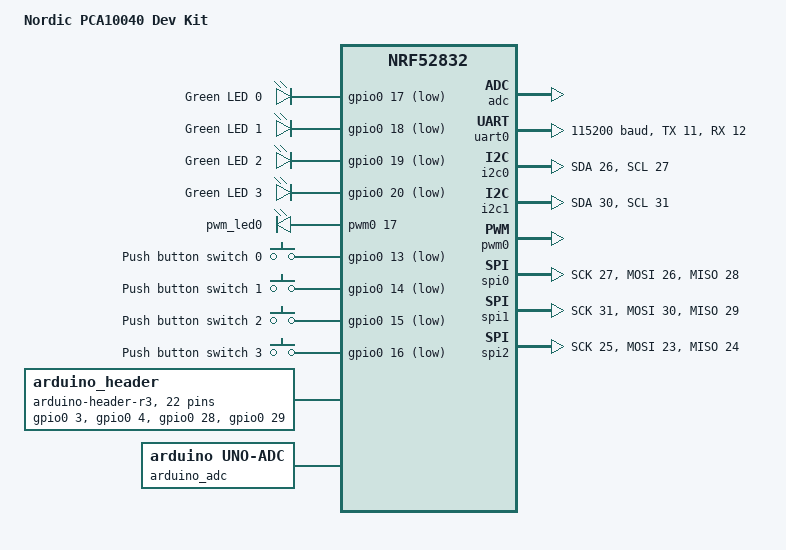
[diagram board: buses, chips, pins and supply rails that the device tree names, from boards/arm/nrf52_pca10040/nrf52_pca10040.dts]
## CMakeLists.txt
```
cmake_minimum_required(VERSION 3.13.1)
# Re-direct the directory where the 'boards' directory is found from
# $ZEPHYR_BASE to this directory.
set(BOARD_ROOT ${CMAKE_CURRENT_LIST_DIR})

set(BOARD nrf52_pca10040)

include($ENV{ZEPHYR_BASE}/cmake/app/boilerplate.cmake NO_POLICY_SCOPE)
project(ruuvi.gateway_nrf.zephyr)

target_sources(app PRIVATE src/main.c)
```

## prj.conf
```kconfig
#Debugging
CONFIG_USE_SEGGER_RTT=y
CONFIG_RTT_CONSOLE=y
CONFIG_UART_CONSOLE=n
CONFIG_STDOUT_CONSOLE=n

#BT
CONFIG_BT=y
CONFIG_BT_OBSERVER=y
CONFIG_BT_DEBUG_LOG=y

# UART
CONFIG_SERIAL=y
CONFIG_UART_INTERRUPT_DRIVEN=y
CONFIG_UART_0_NRF_UART=y

#Use full LibC
CONFIG_NEWLIB_LIBC=y
CONFIG_NEWLIB_LIBC_FLOAT_PRINTF=y
```

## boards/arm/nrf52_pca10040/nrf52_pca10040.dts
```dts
/*
 * Copyright (c) 2017 Shawn Nock <shawn@monadnock.ca>
 * Copyright (c) 2017 Linaro Limited
 *
 * SPDX-License-Identifier: Apache-2.0
 */

/dts-v1/;
#include <nordic/nrf52832_qfaa.dtsi>

/ {
	model = "Nordic PCA10040 Dev Kit";
	compatible = "nordic,pca10040-dk", "nordic,nrf52832-qfaa",
		     "nordic,nrf52832";

	chosen {
		zephyr,console = &uart0;
		zephyr,shell-uart = &uart0;
		zephyr,uart-mcumgr = &uart0;
		zephyr,bt-mon-uart = &uart0;
		zephyr,bt-c2h-uart = &uart0;
		zephyr,sram = &sram0;
		zephyr,flash = &flash0;
		zephyr,code-partition = &slot0_partition;
	};

	leds {
		compatible = "gpio-leds";
		led0: led_0 {
			gpios = <&gpio0 17 GPIO_ACTIVE_LOW>;
			label = "Green LED 0";
		};
		led1: led_1 {
			gpios = <&gpio0 18 GPIO_ACTIVE_LOW>;
			label = "Green LED 1";
		};
		led2: led_2 {
			gpios = <&gpio0 19 GPIO_ACTIVE_LOW>;
			label = "Green LED 2";
		};
		led3: led_3 {
			gpios = <&gpio0 20 GPIO_ACTIVE_LOW>;
			label = "Green LED 3";
		};
	};

	pwmleds {
		compatible = "pwm-leds";
		pwm_led0: pwm_led_0 {
			pwms = <&pwm0 17>;
		};
	};

	buttons {
		compatible = "gpio-keys";
		button0: button_0 {
			gpios = <&gpio0 13 (GPIO_PULL_UP | GPIO_ACTIVE_LOW)>;
			label = "Push button switch 0";
		};
		button1: button_1 {
			gpios = <&gpio0 14 (GPIO_PULL_UP | GPIO_ACTIVE_LOW)>;
			label = "Push button switch 1";
		};
		button2: button_2 {
			gpios = <&gpio0 15 (GPIO_PULL_UP | GPIO_ACTIVE_LOW)>;
			label = "Push button switch 2";
		};
		button3: button_3 {
			gpios = <&gpio0 16 (GPIO_PULL_UP | GPIO_ACTIVE_LOW)>;
			label = "Push button switch 3";
		};
	};

	arduino_header: connector {
		compatible = "arduino-header-r3";
		#gpio-cells = <2>;
		gpio-map-mask = <0xffffffff 0xffffffc0>;
		gpio-map-pass-thru = <0 0x3f>;
		gpio-map = <0 0 &gpio0 3 0>,	/* A0 */
			   <1 0 &gpio0 4 0>,	/* A1 */
			   <2 0 &gpio0 28 0>,	/* A2 */
			   <3 0 &gpio0 29 0>,	/* A3 */
			   <4 0 &gpio0 30 0>,	/* A4 */
			   <5 0 &gpio0 31 0>,	/* A5 */
			   <6 0 &gpio0 11 0>,	/* D0 */
			   <7 0 &gpio0 12 0>,	/* D1 */
			   <8 0 &gpio0 13 0>,	/* D2 */
			   <9 0 &gpio0 14 0>,	/* D3 */
			   <10 0 &gpio0 15 0>,	/* D4 */
			   <11 0 &gpio0 16 0>,	/* D5 */
			   <12 0 &gpio0 17 0>,	/* D6 */
			   <13 0 &gpio0 18 0>,	/* D7 */
			   <14 0 &gpio0 19 0>,	/* D8 */
			   <15 0 &gpio0 20 0>,	/* D9 */
			   <16 0 &gpio0 22 0>,	/* D10 */
			   <17 0 &gpio0 23 0>,	/* D11 */
			   <18 0 &gpio0 24 0>,	/* D12 */
			   <19 0 &gpio0 25 0>,	/* D13 */
			   <20 0 &gpio0 26 0>,	/* D14 */
			   <21 0 &gpio0 27 0>;	/* D15 */
	};

	arduino_adc: analog-connector {
		compatible = "arduino,uno-adc";
		#io-channel-cells = <1>;
		io-channel-map = <0 &adc 1>,	/* A0 = P0.3 = AIN1 */
				 <1 &adc 2>,	/* A1 = P0.4 = AIN2 */
				 <2 &adc 4>,	/* A2 = P0.28 = AIN4 */
				 <3 &adc 5>,	/* A3 = P0.29 = AIN5 */
				 <4 &adc 6>,	/* A4 = P0.30 = AIN6 */
				 <5 &adc 7>;	/* A5 = P0.31 = AIN7 */
	};

	/* These aliases are provided for compatibility with samples */
	aliases {
		led0 = &led0;
		led1 = &led1;
		led2 = &led2;
		led3 = &led3;
		pwm-led0 = &pwm_led0;
		sw0 = &button0;
		sw1 = &button1;
		sw2 = &button2;
		sw3 = &button3;
	};
};

&adc {
	status = "okay";
};

&gpiote {
	status = "okay";
};

&gpio0 {
	status = "okay";
};

arduino_serial: &uart0 {
	status = "okay";
	compatible = "nordic,nrf-uart";
	current-speed = <115200>;
	tx-pin = <11>;
	rx-pin = <12>;
	#rts-pin = <5>;
	#cts-pin = <7>;
};

arduino_i2c: &i2c0 {
	compatible = "nordic,nrf-twi";
	status = "okay";
	sda-pin = <26>;
	scl-pin = <27>;
};

&i2c1 {
	compatible = "nordic,nrf-twi";
	/* Cannot be used together with spi1. */
	/* status = "okay"; */
	sda-pin = <30>;
	scl-pin = <31>;
};

&pwm0 {
	status = "okay";
	ch0-pin = <17>;
	ch0-inverted;
};

&spi0 {
	compatible = "nordic,nrf-spi";
	/* Cannot be used together with i2c0. */
	/* status = "okay"; */
	sck-pin = <27>;
	mosi-pin = <26>;
	miso-pin = <28>;
};

&spi1 {
	compatible = "nordic,nrf-spi";
	status = "okay";
	sck-pin = <31>;
	mosi-pin = <30>;
	miso-pin = <29>;
};

arduino_spi: &spi2 {
	compatible = "nordic,nrf-spi";
	status = "okay";
	sck-pin = <25>;
	mosi-pin = <23>;
	miso-pin = <24>;
	cs-gpios = <&arduino_header 16 0>; /* D10 */
};

&flash0 {
	/*
	 * For more information, see:
	 * http://docs.zephyrproject.org/latest/guides/dts/index.html#flash-partitions
	 */
	partitions {
		compatible = "fixed-partitions";
		#address-cells = <1>;
		#size-cells = <1>;

		boot_partition: partition@0 {
			label = "mcuboot";
			reg = <0x00000000 0xc000>;
		};
		slot0_partition: partition@c000 {
			label = "image-0";
			reg = <0x0000C000 0x32000>;
		};
		slot1_partition: partition@3e000 {
			label = "image-1";
			reg = <0x0003E000 0x32000>;
		};
		scratch_partition: partition@70000 {
			label = "image-scratch";
			reg = <0x00070000 0xa000>;
		};
		storage_partition: partition@7a000 {
			label = "storage";
			reg = <0x0007a000 0x00006000>;
		};
	};
};
```

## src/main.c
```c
#include <zephyr.h>
#include <zephyr/types.h>
#include <stddef.h>
#include <sys/printk.h>
#include <sys/util.h>
#include <stdio.h>
#include <stdlib.h>

#include <bluetooth/bluetooth.h>
#include <bluetooth/hci.h>
#include <drivers/uart.h>

//Define the device
#define BLE_UART "UART_0"
static struct device *uart_dev;

#define UART_BUF_SIZE 1024
#define EnableRuuvi 11
#define DisableRuuvi 10
#define EnableEddy 21
#define DisableEddy 20
#define EnableIbeacon 31
#define DisableIbeacon 30
#define EnableUnknown 41
#define DisableUnknown 40

static volatile bool data_transmitted;
static volatile bool data_received;
static int char_sent;
char rx_buf[UART_BUF_SIZE];
char ble_data[512];

static volatile bool SCAN_RUUVI= true;
static volatile bool SCAN_EDDY= false;
static volatile bool SCAN_iBeacon= false;
static volatile bool SCAN_unknown= false;
#define BT_ADDR_LEN 13

static void uart_data_parse(char *msg_orig){
    
    char *msg = strdup(msg_orig);
	int cmd = atoi(msg);
	if(cmd==EnableRuuvi){
		SCAN_RUUVI= true;
		goto end;
	}
	else if(cmd==DisableRuuvi){
		SCAN_RUUVI= false;
		goto end;
	}
	else if(cmd==EnableEddy){
		SCAN_EDDY= true;
		goto end;
	}
	else if(cmd==DisableEddy){
		SCAN_EDDY = false;
		goto end;
	}
	else if(cmd==EnableIbeacon){
		SCAN_iBeacon = true;
		goto end;
	}
	else if(cmd==DisableIbeacon){
		SCAN_iBeacon= false;
		goto end;
	}
	else if(cmd==EnableUnknown){
		SCAN_unknown = true;
		goto end;
	}
	else if(cmd==DisableUnknown){
		SCAN_unknown= false;
		goto end;
	}
	else{
		goto end;
	}
end:
    free(msg);
    return;
}

static void uart_fifo_callback(struct device *dev)
{
    u8_t data;
    if (!uart_irq_update(dev)) {
        printk("Error: uart_irq_update");
    }
    if (uart_irq_rx_ready(dev)) {
        const int rxBytes = uart_fifo_read(dev, &data, 1);
        if(rxBytes >0){
            char temp[512];
            sprintf(temp, "%c", data);
            char *ptr = strstr(temp, "\n");
            if(ptr == NULL){
                strcat(rx_buf, temp);
            }
            else{
                //printk("%s \n", rx_buf);
                uart_data_parse(rx_buf);
                memset(rx_buf, 0, 512);
            }
        }
    }
}

static void scan_cb(const bt_addr_le_t *addr, s8_t rssi, u8_t adv_type,
		    struct net_buf_simple *buf)
{
	int id = 0;
	int idIterator;
	bool send = false;
	//Find Manufacturer Id
	for(idIterator=0;idIterator<buf->len;idIterator++) {
		if(id == 0){
			if(buf->data[idIterator] == 0xff){
				id = idIterator;
			}
		}
		else{
			break;
		}
	}
	//Ruuvi Check
	if(buf->data[id+1] == 0x99 &&  buf->data[id+2] == 0x04){
		if (SCAN_RUUVI){
			send = true;
		}
	}
	//Eddystone Check
	else if(buf->data[id+1] == 0xaa &&  buf->data[id+2] == 0xfe){
		if (SCAN_EDDY){
			send = true;
		}
	}
	//iBeacon Check
	else if(buf->data[id+1] == 0x4c &&  buf->data[id+2] == 0x00){
		if(SCAN_iBeacon){
			send = true;
		}
	}
	else{
		if(SCAN_unknown){
			send = true;
		}	
	}
	
	if(send){	
		sprintf(ble_data,"%02X%02X%02X%02X%02X%02X,",
			addr->a.val[5], addr->a.val[4], addr->a.val[3],
			addr->a.val[2], addr->a.val[1], addr->a.val[0]);
		int i;
		for(i=0;i<buf->len;i++) {
			sprintf(ble_data + strlen(ble_data), "%02X",buf->data[i]);
		}
		sprintf(ble_data + strlen(ble_data), ",%d,",rssi);
		strcat(ble_data, "\r\n");
		u8_t temp;
		for (i = 0; i < strlen(ble_data); i++) {
			temp = ble_data[i];
			uart_poll_out(uart_dev, temp);
		}
		memset(ble_data, 0, 512);
	}
}

u8_t uart_init()
{
	uart_dev = device_get_binding(BLE_UART);
    if (!uart_dev) {
        printk("Error: Opening UART device");
        return 1;
    }
    else{
        uart_irq_callback_set(uart_dev, uart_fifo_callback);
        uart_irq_rx_enable(uart_dev);
        printk("UART device loaded.\n");
        return 0;
    }
}

void main(void)
{
	int err;
	err= uart_init();
	//Do something if uart error

	struct bt_le_scan_param scan_param = {
		.type       = BT_HCI_LE_SCAN_PASSIVE,
		.filter_dup = BT_HCI_LE_SCAN_FILTER_DUP_ENABLE,
		.interval   = 0x0010,
		.window     = 0x0010,
	};

	printk("Starting Scanner/Advertiser Demo\n");

	/* Initialize the Bluetooth Subsystem */
	err = bt_enable(NULL);
	if (err) {
		printk("Bluetooth init failed (err %d)\n", err);
		return;
	}

	printk("Bluetooth initialized\n");

	err = bt_le_scan_start(&scan_param, scan_cb);
	if (err) {
		printk("Starting scanning failed (err %d)\n", err);
		return;
	}

	do {
		k_sleep(K_MSEC(1000));

	} while (1);
}
```
